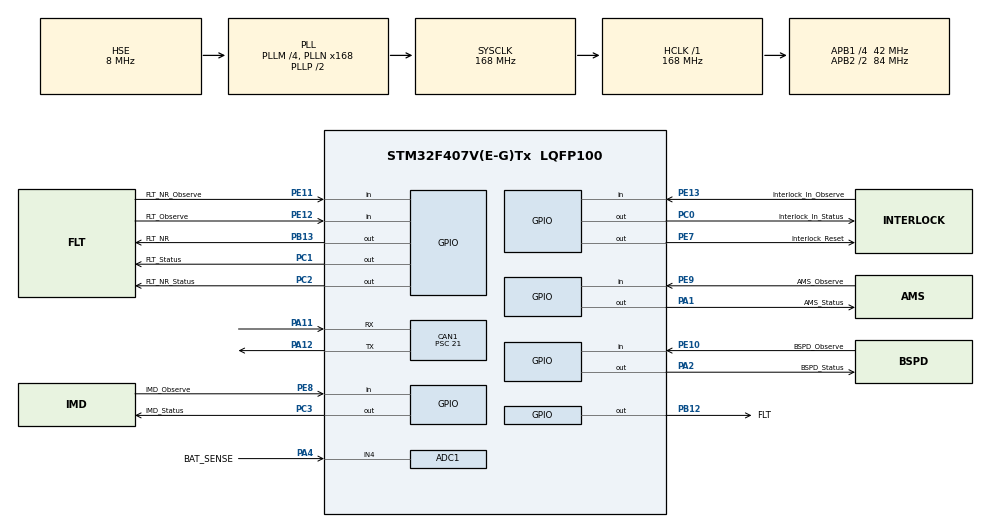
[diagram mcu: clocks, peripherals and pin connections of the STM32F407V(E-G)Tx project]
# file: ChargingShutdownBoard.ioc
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ADC1.Channel-0\#ChannelRegularConversion=ADC_CHANNEL_4
ADC1.ClockPrescaler=ADC_CLOCK_SYNC_PCLK_DIV4
ADC1.ContinuousConvMode=DISABLE
ADC1.DMAContinuousRequests=DISABLE
ADC1.DataAlign=ADC_DATAALIGN_RIGHT
ADC1.DiscontinuousConvMode=DISABLE
ADC1.EOCSelection=ADC_EOC_SEQ_CONV
ADC1.EnableAnalogWatchDog=false
ADC1.ExternalTrigConv=ADC_SOFTWARE_START
ADC1.ExternalTrigConvEdge=ADC_EXTERNALTRIGCONVEDGE_NONE
ADC1.InjNumberOfConversion=0
ADC1.NbrOfConversion=1
ADC1.NbrOfConversionFlag=1
ADC1.Rank-0\#ChannelRegularConversion=1
ADC1.Resolution=ADC_RESOLUTION_12B
ADC1.SamplingTime-0\#ChannelRegularConversion=ADC_SAMPLETIME_3CYCLES
ADC1.ScanConvMode=DISABLE
ADC1.master=1
CAN1.BS1=CAN_BS1_2TQ
CAN1.BS2=CAN_BS2_2TQ
CAN1.CalculateTimeBit=1500
CAN1.CalculateTimeQuantum=500.0
CAN1.Prescaler=21
CAN1.TimeSeg1=CAN_BS1_2TQ
CAN1.TimeSeg2=CAN_BS2_2TQ
Mcu.Family=STM32F4
Mcu.Name=STM32F407V(E-G)Tx
Mcu.Package=LQFP100
NVIC.PriorityGroup=NVIC_PRIORITYGROUP_4
NVIC.TIM3_IRQn=true\:0\:0\:false\:false\:true\:true
PA1.GPIO_Label=AMS_Status
PA1.Signal=GPIO_Output
PA11.Mode=Master
PA11.Signal=CAN1_RX
PA12.Mode=Master
PA12.Signal=CAN1_TX
PA13.Mode=Serial_Wire
PA13.Signal=SYS_JTMS-SWDIO
PA14.Mode=Serial_Wire
PA14.Signal=SYS_JTCK-SWCLK
PA2.GPIO_Label=BSPD_Status
PA2.Signal=GPIO_Output
PA4.GPIO_Label=BAT_SENSE
PA4.Signal=ADCx_IN4
PB12.GPIO_Label=FLT
PB12.Signal=GPIO_Output
PB13.GPIO_Label=FLT_NR
PB13.Signal=GPIO_Output
PC0.GPIO_Label=Interlock_In_Status
PC0.Signal=GPIO_Output
PC1.GPIO_Label=FLT_Status
PC1.Signal=GPIO_Output
PC2.GPIO_Label=FLT_NR_Status
PC2.Signal=GPIO_Output
PC3.GPIO_Label=IMD_Status
PC3.Signal=GPIO_Output
PE10.GPIO_Label=BSPD_Observe
PE10.Signal=GPIO_Input
PE11.GPIO_Label=FLT_NR_Observe
PE11.Signal=GPIO_Input
PE12.GPIO_Label=FLT_Observe
PE12.Signal=GPIO_Input
PE13.GPIO_Label=Interlock_In_Observe
PE13.Signal=GPIO_Input
PE7.GPIO_Label=Interlock_Reset
PE7.Signal=GPIO_Output
PE8.GPIO_Label=IMD_Observe
PE8.Signal=GPIO_Input
PE9.GPIO_Label=AMS_Observe
PE9.Signal=GPIO_Input
PH0-OSC_IN.Mode=HSE-External-Oscillator
PH0-OSC_IN.Signal=RCC_OSC_IN
PH1-OSC_OUT.Mode=HSE-External-Oscillator
PH1-OSC_OUT.Signal=RCC_OSC_OUT
ProjectManager.HeapSize=0x200
ProjectManager.StackSize=0x400
ProjectManager.TargetToolchain=TrueSTUDIO
RCC.48MHZClocksFreq_Value=84000000
RCC.AHBFreq_Value=168000000
RCC.APB1CLKDivider=RCC_HCLK_DIV4
RCC.APB1Freq_Value=42000000
RCC.APB1TimFreq_Value=84000000
RCC.APB2CLKDivider=RCC_HCLK_DIV2
RCC.APB2Freq_Value=84000000
RCC.APB2TimFreq_Value=168000000
RCC.CortexFreq_Value=168000000
RCC.HCLKFreq_Value=168000000
RCC.HSE_VALUE=8000000
RCC.HSI_VALUE=16000000
RCC.LSE_VALUE=32768
RCC.PLLM=4
RCC.PLLN=168
RCC.PLLSourceVirtual=RCC_PLLSOURCE_HSE
RCC.SYSCLKFreq_VALUE=168000000
RCC.SYSCLKSource=RCC_SYSCLKSOURCE_PLLCLK
RCC.VCOOutputFreq_Value=336000000
SH.ADCx_IN4.0=ADC1_IN4,IN4
TIM3.Period=199
TIM3.Prescaler=42000
VP_TIM3_VS_ClockSourceINT.Mode=Internal
VP_TIM3_VS_OPM.Mode=OPM_bit
board=ChargingShutdownBoard

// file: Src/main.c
/**
  ******************************************************************************
  * @file           : main.c
  * @brief          : Main program body
  ******************************************************************************
  ** This notice applies to any and all portions of this file
  * that are not between comment pairs USER CODE BEGIN and
  * USER CODE END. Other portions of this file, whether
  * inserted by the user or by software development tools
  * are owned by their respective copyright owners.
  *
  * COPYRIGHT(c) 2018 STMicroelectronics
  *
  * Redistribution and use in source and binary forms, with or without modification,
  * are permitted provided that the following conditions are met:
  *   1. Redistributions of source code must retain the above copyright notice,
  *      this list of conditions and the following disclaimer.
  *   2. Redistributions in binary form must reproduce the above copyright notice,
  *      this list of conditions and the following disclaimer in the documentation
  *      and/or other materials provided with the distribution.
  *   3. Neither the name of STMicroelectronics nor the names of its contributors
  *      may be used to endorse or promote products derived from this software
  *      without specific prior written permission.
  *
  * THIS SOFTWARE IS PROVIDED BY THE COPYRIGHT HOLDERS AND CONTRIBUTORS "AS IS"
  * AND ANY EXPRESS OR IMPLIED WARRANTIES, INCLUDING, BUT NOT LIMITED TO, THE
  * IMPLIED WARRANTIES OF MERCHANTABILITY AND FITNESS FOR A PARTICULAR PURPOSE ARE
  * DISCLAIMED. IN NO EVENT SHALL THE COPYRIGHT HOLDER OR CONTRIBUTORS BE LIABLE
  * FOR ANY DIRECT, INDIRECT, INCIDENTAL, SPECIAL, EXEMPLARY, OR CONSEQUENTIAL
  * DAMAGES (INCLUDING, BUT NOT LIMITED TO, PROCUREMENT OF SUBSTITUTE GOODS OR
  * SERVICES; LOSS OF USE, DATA, OR PROFITS; OR BUSINESS INTERRUPTION) HOWEVER
  * CAUSED AND ON ANY THEORY OF LIABILITY, WHETHER IN CONTRACT, STRICT LIABILITY,
  * OR TORT (INCLUDING NEGLIGENCE OR OTHERWISE) ARISING IN ANY WAY OUT OF THE USE
  * OF THIS SOFTWARE, EVEN IF ADVISED OF THE POSSIBILITY OF SUCH DAMAGE.
  *
  ******************************************************************************
  */
#include "main.h"
#include "stm32f4xx_hal.h"
#include "adc.h"
#include "can.h"
#include "tim.h"
#include "gpio.h"

/* USER CODE BEGIN Includes */
#include "scheduler.h"
#include "Shutdown.h"
/* USER CODE END Includes */

/* USER CODE BEGIN PV */
/* Private variables ---------------------------------------------------------*/

/* USER CODE END PV */

void SystemClock_Config(void);

/* USER CODE BEGIN PFP */
/* Private function prototypes -----------------------------------------------*/

/* USER CODE END PFP */

/* USER CODE BEGIN 0 */
uint16_t adc;
void HAL_TIM_PeriodElapsedCallback(TIM_HandleTypeDef *htim)
{
	if (htim->Instance==TIM3) // Reset back high after 100ms
	{
		HAL_GPIO_WritePin(INTERLOCK_RESET_GROUP, INTERLOCK_RESET_PIN, GPIO_PIN_RESET);
	}
}

/* USER CODE END 0 */

int main(void)
{

  /* MCU Configuration----------------------------------------------------------*/

  /* Reset of all peripherals, Initializes the Flash interface and the Systick. */
  HAL_Init();

  /* Configure the system clock */
  SystemClock_Config();

  /* Initialize all configured peripherals */
  MX_GPIO_Init();
  MX_ADC1_Init();
  MX_CAN1_Init();
  MX_TIM3_Init();
  /* USER CODE BEGIN 2 */
  Init_MyCAN();
  init();
  /* USER CODE END 2 */

  /* Infinite loop */
  /* USER CODE BEGIN WHILE */
  Schedule schedule;
  MakeSchedule(&schedule, 4);
  AddTask(&schedule, &mainloop, 500);
  AddTask(&schedule, &checkCANMessages, 1);
  AddTask(&schedule, &sendHeartbeat, 700);
  AddTask(&schedule, &sendChargeStatus, 1400);
  while (1)
  {
	 RunSchedule(&schedule);

  /* USER CODE END WHILE */

  }

}

void SystemClock_Config(void)
{

  RCC_OscInitTypeDef RCC_OscInitStruct;
  RCC_ClkInitTypeDef RCC_ClkInitStruct;

    /**Configure the main internal regulator output voltage
    */
  __HAL_RCC_PWR_CLK_ENABLE();

  __HAL_PWR_VOLTAGESCALING_CONFIG(PWR_REGULATOR_VOLTAGE_SCALE1);

    /**Initializes the CPU, AHB and APB busses clocks
    */
  RCC_OscInitStruct.OscillatorType = RCC_OSCILLATORTYPE_HSE;
  RCC_OscInitStruct.HSEState = RCC_HSE_ON;
  RCC_OscInitStruct.PLL.PLLState = RCC_PLL_ON;
  RCC_OscInitStruct.PLL.PLLSource = RCC_PLLSOURCE_HSE;
  RCC_OscInitStruct.PLL.PLLM = 4;
  RCC_OscInitStruct.PLL.PLLN = 168;
  RCC_OscInitStruct.PLL.PLLP = RCC_PLLP_DIV2;
  RCC_OscInitStruct.PLL.PLLQ = 4;
  if (HAL_RCC_OscConfig(&RCC_OscInitStruct) != HAL_OK)
  {
    _Error_Handler(__FILE__, __LINE__);
  }

    /**Initializes the CPU, AHB and APB busses clocks
    */
  RCC_ClkInitStruct.ClockType = RCC_CLOCKTYPE_HCLK|RCC_CLOCKTYPE_SYSCLK
                              |RCC_CLOCKTYPE_PCLK1|RCC_CLOCKTYPE_PCLK2;
  RCC_ClkInitStruct.SYSCLKSource = RCC_SYSCLKSOURCE_PLLCLK;
  RCC_ClkInitStruct.AHBCLKDivider = RCC_SYSCLK_DIV1;
  RCC_ClkInitStruct.APB1CLKDivider = RCC_HCLK_DIV4;
  RCC_ClkInitStruct.APB2CLKDivider = RCC_HCLK_DIV2;

  if (HAL_RCC_ClockConfig(&RCC_ClkInitStruct, FLASH_LATENCY_5) != HAL_OK)
  {
    _Error_Handler(__FILE__, __LINE__);
  }

    /**Configure the Systick interrupt time
    */
  HAL_SYSTICK_Config(HAL_RCC_GetHCLKFreq()/1000);

    /**Configure the Systick
    */
  HAL_SYSTICK_CLKSourceConfig(SYSTICK_CLKSOURCE_HCLK);

  /* SysTick_IRQn interrupt configuration */
  HAL_NVIC_SetPriority(SysTick_IRQn, 0, 0);
}

void _Error_Handler(char *file, int line)
{
  while(1)
  {
  }
}

/************************ (C) COPYRIGHT STMicroelectronics *****END OF FILE****/
